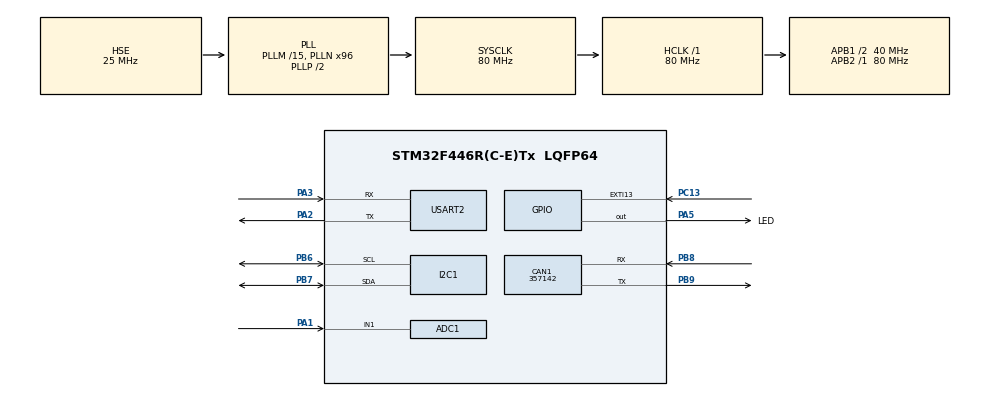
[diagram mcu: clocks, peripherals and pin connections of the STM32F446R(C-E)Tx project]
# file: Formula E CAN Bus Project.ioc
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ADC1.Channel-0\#ChannelRegularConversion=ADC_CHANNEL_1
ADC1.ContinuousConvMode=ENABLE
ADC1.NbrOfConversionFlag=1
ADC1.Rank-0\#ChannelRegularConversion=1
ADC1.SamplingTime-0\#ChannelRegularConversion=ADC_SAMPLETIME_3CYCLES
ADC1.master=1
CAN1.ABOM=ENABLE
CAN1.BS1=CAN_BS1_4TQ
CAN1.BS2=CAN_BS2_2TQ
CAN1.CalculateBaudRate=357142
CAN1.CalculateTimeBit=2800
CAN1.CalculateTimeQuantum=400.0
CAN1.NART=ENABLE
Mcu.Family=STM32F4
Mcu.Name=STM32F446R(C-E)Tx
Mcu.Package=LQFP64
NVIC.CAN1_RX0_IRQn=true\:0\:0\:false\:false\:true\:true\:true\:true
NVIC.CAN1_RX1_IRQn=true\:0\:0\:false\:false\:true\:true\:true\:true
NVIC.CAN1_SCE_IRQn=true\:0\:0\:false\:false\:true\:true\:true\:true
NVIC.CAN1_TX_IRQn=true\:0\:0\:false\:false\:true\:true\:true\:true
NVIC.EXTI15_10_IRQn=true\:0\:0\:false\:false\:true\:true\:true\:true
NVIC.PriorityGroup=NVIC_PRIORITYGROUP_4
PA1.Signal=ADCx_IN1
PA2.Mode=Asynchronous
PA2.Signal=USART2_TX
PA3.Mode=Asynchronous
PA3.Signal=USART2_RX
PA5.GPIO_Label=LED
PA5.GPIO_PuPd=GPIO_PULLDOWN
PA5.Signal=GPIO_Output
PB6.Mode=I2C
PB6.Signal=I2C1_SCL
PB7.Mode=I2C
PB7.Signal=I2C1_SDA
PB8.Mode=CAN_Activate
PB8.Signal=CAN1_RX
PB9.Mode=CAN_Activate
PB9.Signal=CAN1_TX
PC13.GPIO_ModeDefaultEXTI=GPIO_MODE_IT_FALLING
PC13.Signal=GPXTI13
PC14-OSC32_IN.Mode=LSE-External-Oscillator
PC14-OSC32_IN.Signal=RCC_OSC32_IN
PC15-OSC32_OUT.Mode=LSE-External-Oscillator
PC15-OSC32_OUT.Signal=RCC_OSC32_OUT
PH0-OSC_IN.Mode=HSE-External-Oscillator
PH0-OSC_IN.Signal=RCC_OSC_IN
PH1-OSC_OUT.Mode=HSE-External-Oscillator
PH1-OSC_OUT.Signal=RCC_OSC_OUT
ProjectManager.HeapSize=0x200
ProjectManager.StackSize=0x400
ProjectManager.TargetToolchain=STM32CubeIDE
RCC.AHBFreq_Value=80000000
RCC.APB1CLKDivider=RCC_HCLK_DIV2
RCC.APB1Freq_Value=40000000
RCC.APB1TimFreq_Value=80000000
RCC.APB2Freq_Value=80000000
RCC.APB2TimFreq_Value=80000000
RCC.CortexFreq_Value=80000000
RCC.HCLKFreq_Value=80000000
RCC.PLLM=15
RCC.PLLN=96
RCC.PLLSourceVirtual=RCC_PLLSOURCE_HSE
RCC.SYSCLKFreq_VALUE=80000000
RCC.SYSCLKSource=RCC_SYSCLKSOURCE_PLLCLK
RCC.USBFreq_Value=80000000
RCC.VCOOutputFreq_Value=160000000
SH.ADCx_IN1.0=ADC1_IN1,IN1
USART2.VirtualMode=VM_ASYNC
board=custom

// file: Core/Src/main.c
/* USER CODE BEGIN Header */
/**
  ******************************************************************************
  * @file           : main.c
  * @brief          : Main program body
  ******************************************************************************
  * @attention
  *
  * Copyright (c) 2022 STMicroelectronics.
  * All rights reserved.
  *
  * This software is licensed under terms that can be found in the LICENSE file
  * in the root directory of this software component.
  * If no LICENSE file comes with this software, it is provided AS-IS.
  *
  ******************************************************************************
  */
/* USER CODE END Header */
#include "main.h"

/* USER CODE BEGIN Includes */
#include "stdio.h"
#include "string.h"
#include "stdlib.h"
#include "math.h"
/* USER CODE END Includes */

ADC_HandleTypeDef hadc1;

CAN_HandleTypeDef hcan1;

I2C_HandleTypeDef hi2c1;

UART_HandleTypeDef huart2;

/* USER CODE BEGIN PV */
CAN_FilterTypeDef CFilter;
CAN_RxHeaderTypeDef RxH;
CAN_TxHeaderTypeDef TxH;

uint32_t Mailbox0;
uint8_t rData[1];
uint8_t tData[2];

uint16_t accelData[4];
uint16_t tempData[4];

const uint8_t TMP_ADDR = 0x48 << 1; // To make this an 8-bit address
const uint8_t ACC_ADDR = 0x25 << 1;

const uint8_t BASE = 0x00;

const float MAX_TEMP = 60; //Maximum temperature for battery cells

uint16_t adcData;
float voltage = 0;
float angle = 0;

//magnetic ring specifications
const float stripLen = 0.001;
const float numOfStrips = 30; // According to magnet
const float radius = (stripLen * numOfStrips) / (2*M_PI);
/* USER CODE END PV */

void SystemClock_Config(void);
static void MX_GPIO_Init(void);
static void MX_CAN1_Init(void);
static void MX_I2C1_Init(void);
static void MX_USART2_UART_Init(void);
static void MX_ADC1_Init(void);

/* USER CODE BEGIN 0 */
void COOLDOWN_SYSTEM() {
	return ;
}
/* USER CODE END 0 */

int main(void)
{
  /* USER CODE BEGIN 1 */
  uint8_t data[16];
  HAL_StatusTypeDef statT, statA;
  uint16_t temp_val, acc_val;
  float temp_final;
  float pole1 = -1;
  /* USER CODE END 1 */

  /* MCU Configuration--------------------------------------------------------*/

  /* Reset of all peripherals, Initializes the Flash interface and the Systick. */
  HAL_Init();

  /* Configure the system clock */
  SystemClock_Config();

  /* Initialize all configured peripherals */
  MX_GPIO_Init();
  MX_CAN1_Init();
  MX_I2C1_Init();
  MX_USART2_UART_Init();
  MX_ADC1_Init();

  /* Infinite loop */
  while (1)
  {

    /* USER CODE BEGIN 3 */
	  //BOARD 1
	  // Indicating that we want to read the temperature data
	  data[0] = BASE;
	  	  statT = HAL_I2C_Master_Transmit(&hi2c1, TMP_ADDR, data, 1, HAL_MAX_DELAY);
	  	  if (statT != HAL_OK) {
	  		  strcpy((char*)data, "Error Tx\n");
	  	  }
	  	  else {
	  		  statT = HAL_I2C_Master_Receive(&hi2c1, TMP_ADDR, data, 2, HAL_MAX_DELAY);
	  		  if (statT != HAL_OK) {
	  			  strcpy((char*)data, "Error Rx\n");
	  		  }
	  		  else {
	  			  temp_val = ((uint16_t)data[0] << 4) | (data[1] << 4);

	  			  if (temp_val < 0x7FF) {
	  				  temp_val |= 0xF000;
	  			  }

	  			  temp_final = 0.625 * temp_val;
	  		  }
	  	  }

	  	  // Let the system cool down if the accumulator cells are getting too hot
	  	  if (temp_final > MAX_TEMP) {
	  		  COOLDOWN_SYSTEM();
	  	  }

	  	  // BOARD 2
	  	  data[2] = BASE;
	  	  statA = HAL_I2C_Master_Transmit(&hi2c1, ACC_ADDR, data, 1, HAL_MAX_DELAY);
	  	  if (statA != HAL_OK) {
	  		  strcpy((char*)data, "Error Tx\n");
	  	  }
	  	  else {
	  		  statA = HAL_I2C_Master_Receive(&hi2c1, ACC_ADDR, data, 2, HAL_MAX_DELAY);
	  		  if (statA != HAL_OK) {
	  			  strcpy((char*)data, "Error Rx\n");
	  		  }
	  		  else {
	  			  acc_val = ((uint16_t)data[2] << 4) | (data[3] << 4);

	  			  // Add processing for data, and a means to adapt to the sensor data
	  		  }
	  	  }

	  	  HAL_ADC_Start(&hadc1);
	  	  HAL_ADC_PollForConversion(&hadc1, 50);
	  	  adcData = HAL_ADC_GetValue(&hadc1);
	  	  if (pole1 == -1) {
	  		  pole1 = adcData;
	  	  }
	  	  HAL_ADC_Stop(&hadc1);

	  	  voltage = (float) (adcData * 3.3) / 4095; // voltage outputted from 12-bit ADC

	  	  // increment the angle according to the reading
	  	  if (voltage > 3.3/2 && pole1 < 3.3/2) {
	  		  angle += stripLen/radius;
	  		  pole1 = voltage;
	  	  }

	  	  tData[0] = acc_val;
	  	  HAL_CAN_AddTxMessage(&hcan1, &TxH, tData, &Mailbox0);

	  	  tData[0] = adcData;
	  	  HAL_CAN_AddTxMessage(&hcan1, &TxH, tData, &Mailbox0);

  }
  /* USER CODE END 3 */
}

void SystemClock_Config(void)
{
  RCC_OscInitTypeDef RCC_OscInitStruct = {0};
  RCC_ClkInitTypeDef RCC_ClkInitStruct = {0};

  /** Configure the main internal regulator output voltage
  */
  __HAL_RCC_PWR_CLK_ENABLE();
  __HAL_PWR_VOLTAGESCALING_CONFIG(PWR_REGULATOR_VOLTAGE_SCALE3);

  /** Initializes the RCC Oscillators according to the specified parameters
  * in the RCC_OscInitTypeDef structure.
  */
  RCC_OscInitStruct.OscillatorType = RCC_OSCILLATORTYPE_HSE;
  RCC_OscInitStruct.HSEState = RCC_HSE_ON;
  RCC_OscInitStruct.PLL.PLLState = RCC_PLL_ON;
  RCC_OscInitStruct.PLL.PLLSource = RCC_PLLSOURCE_HSE;
  RCC_OscInitStruct.PLL.PLLM = 15;
  RCC_OscInitStruct.PLL.PLLN = 96;
  RCC_OscInitStruct.PLL.PLLP = RCC_PLLP_DIV2;
  RCC_OscInitStruct.PLL.PLLQ = 2;
  RCC_OscInitStruct.PLL.PLLR = 2;
  if (HAL_RCC_OscConfig(&RCC_OscInitStruct) != HAL_OK)
  {
    Error_Handler();
  }

  /** Initializes the CPU, AHB and APB buses clocks
  */
  RCC_ClkInitStruct.ClockType = RCC_CLOCKTYPE_HCLK|RCC_CLOCKTYPE_SYSCLK
                              |RCC_CLOCKTYPE_PCLK1|RCC_CLOCKTYPE_PCLK2;
  RCC_ClkInitStruct.SYSCLKSource = RCC_SYSCLKSOURCE_PLLCLK;
  RCC_ClkInitStruct.AHBCLKDivider = RCC_SYSCLK_DIV1;
  RCC_ClkInitStruct.APB1CLKDivider = RCC_HCLK_DIV2;
  RCC_ClkInitStruct.APB2CLKDivider = RCC_HCLK_DIV1;

  if (HAL_RCC_ClockConfig(&RCC_ClkInitStruct, FLASH_LATENCY_2) != HAL_OK)
  {
    Error_Handler();
  }
}

static void MX_ADC1_Init(void)
{

  ADC_ChannelConfTypeDef sConfig = {0};

  /** Configure the global features of the ADC (Clock, Resolution, Data Alignment and number of conversion)
  */
  hadc1.Instance = ADC1;
  hadc1.Init.ClockPrescaler = ADC_CLOCK_SYNC_PCLK_DIV4;
  hadc1.Init.Resolution = ADC_RESOLUTION_12B;
  hadc1.Init.ScanConvMode = DISABLE;
  hadc1.Init.ContinuousConvMode = ENABLE;
  hadc1.Init.DiscontinuousConvMode = DISABLE;
  hadc1.Init.ExternalTrigConvEdge = ADC_EXTERNALTRIGCONVEDGE_NONE;
  hadc1.Init.ExternalTrigConv = ADC_SOFTWARE_START;
  hadc1.Init.DataAlign = ADC_DATAALIGN_RIGHT;
  hadc1.Init.NbrOfConversion = 1;
  hadc1.Init.DMAContinuousRequests = DISABLE;
  hadc1.Init.EOCSelection = ADC_EOC_SINGLE_CONV;
  if (HAL_ADC_Init(&hadc1) != HAL_OK)
  {
    Error_Handler();
  }

  /** Configure for the selected ADC regular channel its corresponding rank in the sequencer and its sample time.
  */
  sConfig.Channel = ADC_CHANNEL_1;
  sConfig.Rank = 1;
  sConfig.SamplingTime = ADC_SAMPLETIME_3CYCLES;
  if (HAL_ADC_ConfigChannel(&hadc1, &sConfig) != HAL_OK)
  {
    Error_Handler();
  }

}

static void MX_CAN1_Init(void)
{

  hcan1.Instance = CAN1;
  hcan1.Init.Prescaler = 16;
  hcan1.Init.Mode = CAN_MODE_NORMAL;
  hcan1.Init.SyncJumpWidth = CAN_SJW_1TQ;
  hcan1.Init.TimeSeg1 = CAN_BS1_4TQ;
  hcan1.Init.TimeSeg2 = CAN_BS2_2TQ;
  hcan1.Init.TimeTriggeredMode = DISABLE;
  hcan1.Init.AutoBusOff = ENABLE;
  hcan1.Init.AutoWakeUp = DISABLE;
  hcan1.Init.AutoRetransmission = ENABLE;
  hcan1.Init.ReceiveFifoLocked = DISABLE;
  hcan1.Init.TransmitFifoPriority = DISABLE;
  if (HAL_CAN_Init(&hcan1) != HAL_OK)
  {
    Error_Handler();
  }
  /* USER CODE BEGIN CAN1_Init 2 */
  TxH.IDE = CAN_ID_STD;
  TxH.RTR = CAN_RTR_DATA;
  TxH.DLC = 1;

  CFilter.FilterActivation = CAN_FILTER_ENABLE;
  CFilter.FilterBank = 0;
  CFilter.FilterFIFOAssignment = CAN_FILTER_FIFO0;
  CFilter.FilterIdHigh = 0x000;
  CFilter.FilterIdLow = 0x000;
  CFilter.FilterMaskIdHigh = 0x000;
  CFilter.FilterMaskIdLow = 0x000;
  CFilter.FilterMode = CAN_FILTERMODE_IDMASK;
  CFilter.FilterScale = CAN_FILTERSCALE_32BIT;
  CFilter.SlaveStartFilterBank = 14;

  if (HAL_CAN_ConfigFilter(&hcan1, &CFilter) != HAL_OK) {
	  Error_Handler();
  }

  if (HAL_CAN_Start(&hcan1) != HAL_OK) {
	  Error_Handler();
  }

  /* USER CODE END CAN1_Init 2 */

}

static void MX_I2C1_Init(void)
{

  hi2c1.Instance = I2C1;
  hi2c1.Init.ClockSpeed = 100000;
  hi2c1.Init.DutyCycle = I2C_DUTYCYCLE_2;
  hi2c1.Init.OwnAddress1 = 0;
  hi2c1.Init.AddressingMode = I2C_ADDRESSINGMODE_7BIT;
  hi2c1.Init.DualAddressMode = I2C_DUALADDRESS_DISABLE;
  hi2c1.Init.OwnAddress2 = 0;
  hi2c1.Init.GeneralCallMode = I2C_GENERALCALL_DISABLE;
  hi2c1.Init.NoStretchMode = I2C_NOSTRETCH_DISABLE;
  if (HAL_I2C_Init(&hi2c1) != HAL_OK)
  {
    Error_Handler();
  }

}

static void MX_USART2_UART_Init(void)
{

  huart2.Instance = USART2;
  huart2.Init.BaudRate = 115200;
  huart2.Init.WordLength = UART_WORDLENGTH_8B;
  huart2.Init.StopBits = UART_STOPBITS_1;
  huart2.Init.Parity = UART_PARITY_NONE;
  huart2.Init.Mode = UART_MODE_TX_RX;
  huart2.Init.HwFlowCtl = UART_HWCONTROL_NONE;
  huart2.Init.OverSampling = UART_OVERSAMPLING_16;
  if (HAL_UART_Init(&huart2) != HAL_OK)
  {
    Error_Handler();
  }

}

static void MX_GPIO_Init(void)
{
  GPIO_InitTypeDef GPIO_InitStruct = {0};

  /* GPIO Ports Clock Enable */
  __HAL_RCC_GPIOC_CLK_ENABLE();
  __HAL_RCC_GPIOH_CLK_ENABLE();
  __HAL_RCC_GPIOA_CLK_ENABLE();
  __HAL_RCC_GPIOB_CLK_ENABLE();

  /*Configure GPIO pin Output Level */
  HAL_GPIO_WritePin(LED_GPIO_Port, LED_Pin, GPIO_PIN_RESET);

  /*Configure GPIO pin : PC13 */
  GPIO_InitStruct.Pin = GPIO_PIN_13;
  GPIO_InitStruct.Mode = GPIO_MODE_IT_FALLING;
  GPIO_InitStruct.Pull = GPIO_NOPULL;
  HAL_GPIO_Init(GPIOC, &GPIO_InitStruct);

  /*Configure GPIO pin : LED_Pin */
  GPIO_InitStruct.Pin = LED_Pin;
  GPIO_InitStruct.Mode = GPIO_MODE_OUTPUT_PP;
  GPIO_InitStruct.Pull = GPIO_PULLDOWN;
  GPIO_InitStruct.Speed = GPIO_SPEED_FREQ_LOW;
  HAL_GPIO_Init(LED_GPIO_Port, &GPIO_InitStruct);

  /* EXTI interrupt init*/
  HAL_NVIC_SetPriority(EXTI15_10_IRQn, 0, 0);
  HAL_NVIC_EnableIRQ(EXTI15_10_IRQn);

}

/* USER CODE BEGIN 4 */
void HAL_CAN_RxFifo0MsgPendingCallback(CAN_HandleTypeDef *hcan) {
	HAL_CAN_GetRxMessage(&hcan1, CAN_RX_FIFO0, &RxH, rData);
}
/* USER CODE END 4 */

void Error_Handler(void)
{
  /* USER CODE BEGIN Error_Handler_Debug */
  /* User can add his own implementation to report the HAL error return state */
  __disable_irq();
  while (1)
  {
	  //HAL_GPIO_TogglePin (GPIOA, GPIO_PIN_5);
	  //HAL_Delay (100);   /* Insert delay 100 ms */
  }
  /* USER CODE END Error_Handler_Debug */
}
